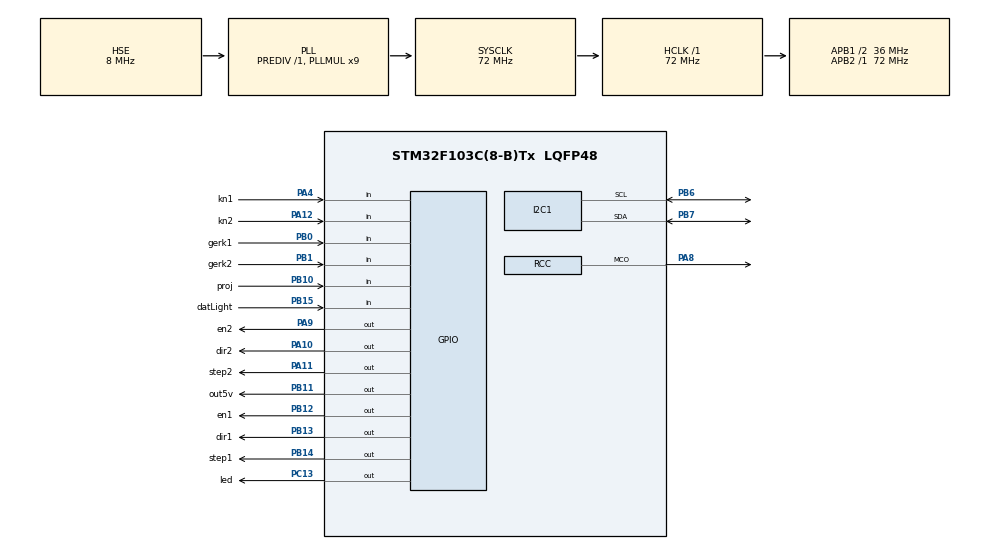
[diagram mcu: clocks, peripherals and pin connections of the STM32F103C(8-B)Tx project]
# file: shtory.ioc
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Mcu.Family=STM32F1
Mcu.Name=STM32F103C(8-B)Tx
Mcu.Package=LQFP48
NVIC.PriorityGroup=NVIC_PRIORITYGROUP_4
NVIC.TIM2_IRQn=true\:0\:0\:false\:false\:true\:true\:true\:true
PA10.GPIO_Label=dir2
PA10.Signal=GPIO_Output
PA11.GPIO_Label=step2
PA11.Signal=GPIO_Output
PA12.GPIO_Label=kn2
PA12.Signal=GPIO_Input
PA4.GPIO_Label=kn1
PA4.Signal=GPIO_Input
PA8.Mode=Clock-out
PA8.Signal=RCC_MCO
PA9.GPIO_Label=en2
PA9.Signal=GPIO_Output
PB0.GPIO_Label=gerk1
PB0.Signal=GPIO_Input
PB1.GPIO_Label=gerk2
PB1.Signal=GPIO_Input
PB10.GPIO_Label=proj
PB10.Signal=GPIO_Input
PB11.GPIO_Label=out5v
PB11.Signal=GPIO_Output
PB12.GPIO_Label=en1
PB12.Signal=GPIO_Output
PB13.GPIO_Label=dir1
PB13.Signal=GPIO_Output
PB14.GPIO_Label=step1
PB14.Signal=GPIO_Output
PB15.GPIO_Label=datLight
PB15.Signal=GPIO_Input
PB6.Mode=I2C
PB6.Signal=I2C1_SCL
PB7.Mode=I2C
PB7.Signal=I2C1_SDA
PC13-TAMPER-RTC.GPIO_Label=led
PC13-TAMPER-RTC.GPIO_ModeDefaultOutputPP=GPIO_MODE_OUTPUT_OD
PC13-TAMPER-RTC.GPIO_PuPd=GPIO_NOPULL
PC13-TAMPER-RTC.Signal=GPIO_Output
PD0-OSC_IN.Mode=HSE-External-Oscillator
PD0-OSC_IN.Signal=RCC_OSC_IN
PD1-OSC_OUT.Mode=HSE-External-Oscillator
PD1-OSC_OUT.Signal=RCC_OSC_OUT
ProjectManager.HeapSize=0x200
ProjectManager.StackSize=0x400
ProjectManager.TargetToolchain=MDK-ARM V5.32
RCC.AHBFreq_Value=72000000
RCC.APB1CLKDivider=RCC_HCLK_DIV2
RCC.APB1Freq_Value=36000000
RCC.APB1TimFreq_Value=72000000
RCC.APB2Freq_Value=72000000
RCC.APB2TimFreq_Value=72000000
RCC.HCLKFreq_Value=72000000
RCC.HSICalibrationValue=16
RCC.PLLMUL=RCC_PLL_MUL9
RCC.PLLSourceVirtual=RCC_PLLSOURCE_HSE
RCC.RCC_MCOSource=RCC_MCO1SOURCE_PLLCLK
RCC.SYSCLKFreq_VALUE=72000000
RCC.SYSCLKSource=RCC_SYSCLKSOURCE_PLLCLK
RCC.USBFreq_Value=72000000
TIM2.AutoReloadPreload=TIM_AUTORELOAD_PRELOAD_DISABLE
TIM2.Period=36
TIM2.Prescaler=35999
VP_SYS_VS_ND.Mode=No_Debug
VP_TIM2_VS_ClockSourceINT.Mode=Internal
board=custom

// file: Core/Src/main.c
/* USER CODE BEGIN Header */
/**
  ******************************************************************************
  * @file           : main.c
  * @brief          : Main program body
  ******************************************************************************
  * @attention
  *
  * Copyright (c) 2023 STMicroelectronics.
  * All rights reserved.
  *
  * This software is licensed under terms that can be found in the LICENSE file
  * in the root directory of this software component.
  * If no LICENSE file comes with this software, it is provided AS-IS.
  *
  ******************************************************************************
  */
/* USER CODE END Header */
#include "main.h"

/* USER CODE BEGIN PTD */
#define ON  0
#define OFF  1
#define yes 0
#define no 1
/* USER CODE END PTD */

I2C_HandleTypeDef hi2c1;

TIM_HandleTypeDef htim2;
int summer_morning = 7;
/* USER CODE BEGIN PV */
int count1 = 0;
int count2 = 0;
int period1 = 50;
int period2 = 50;
int counter1 = 0;
int counter2 = 0;
int down_step1= 20000;
int down_step2= 30000;
uint16_t Dev=0x68;
/* USER CODE END PV */
int minuts = 0;
int seconds =0;
int hours =0;
int date = 0;
	int month = 0;
	int year = 0;
	int day1 = 0;
void SystemClock_Config(void);
static void MX_GPIO_Init(void);
static void MX_I2C1_Init(void);
static void MX_TIM2_Init(void);
int roll1_down = 0;
int roll2_down = 0;
int roll1_top = 0;
int roll2_top = 0;
int roll1_count = 0;
int roll2_count = 0;
int init = 0;
/* USER CODE BEGIN PFP */
enum states_day {

	day_winter,
	day_summer,
	night_winter,
	night_summer

};
enum states_roll
{
	top,
	down,
	go_down,
	go_up
};
enum states_day cur_state_day=day_summer;
enum states_roll cur_state_roll=go_up;
/* USER CODE END PFP */

/* USER CODE BEGIN 0 */
void HAL_TIM_PeriodElapsedCallback(TIM_HandleTypeDef *htim)
{
	count1++;
	count2++;
	if (count1>period1) {
		HAL_GPIO_TogglePin(step1_GPIO_Port, step1_Pin);
		count1 = 0;
			if ((counter1<down_step1)&& (cur_state_roll == go_down))
		{
			counter1++;
		}
		if (counter1>=down_step1){
			roll1_down=1;
		}

	}
	if (count2>period2) {
		HAL_GPIO_TogglePin(step2_GPIO_Port, step2_Pin);
		count2 = 0;
		if ((counter2<down_step2)&& (cur_state_roll == go_down))
		{
			counter2++;
		}
		if (counter2>=down_step2)
		{
			roll2_down=1;
		}
	}

}
/* USER CODE END 0 */

int main(void)
{

  /* MCU Configuration--------------------------------------------------------*/

  /* Reset of all peripherals, Initializes the Flash interface and the Systick. */
  HAL_Init();

  /* Configure the system clock */
  SystemClock_Config();

  /* Initialize all configured peripherals */
  MX_GPIO_Init();
  MX_I2C1_Init();
  MX_TIM2_Init();
  /* USER CODE BEGIN 2 */
	HAL_TIM_Base_Start_IT(&htim2);\
	__enable_irq();
	//time_write(16,15,0, HR_FORMAT_24);
	//date_write(4, 6, 7, 23);

	if(HAL_GPIO_ReadPin(gerk1_GPIO_Port,gerk1_Pin) == no)
						{
							HAL_GPIO_WritePin(dir1_GPIO_Port, dir1_Pin, 1);
							HAL_GPIO_WritePin(en1_GPIO_Port, en1_Pin, 0);
							cur_state_roll = go_up;
							roll1_down=0;
						}
	if(HAL_GPIO_ReadPin(gerk2_GPIO_Port,gerk2_Pin) == no)
						{
							HAL_GPIO_WritePin(dir2_GPIO_Port, dir2_Pin, 1);
							HAL_GPIO_WritePin(en2_GPIO_Port, en2_Pin, 0);
							cur_state_roll = go_up;
							roll2_down=0;
						}

  /* USER CODE END 2 */

  /* Infinite loop */
  /* USER CODE BEGIN WHILE */
  while (1)
  {
		switch (cur_state_day)
		{
			case day_summer:{
				if ((hours > 22) || (hours < 8)){cur_state_day=night_summer;
				}
				if ((month <= 3) || (month >= 9)) {cur_state_day=day_winter;}
				switch (cur_state_roll)
				{
					case top:{
								if (HAL_GPIO_ReadPin(proj_GPIO_Port,proj_Pin) == 1){
									if (((gerk1_GPIO_Port,gerk1_Pin)== no)||(HAL_GPIO_ReadPin(gerk2_GPIO_Port,gerk2_Pin)== no)){
										roll1_top=0;
							roll2_top=0;
							HAL_GPIO_WritePin(dir1_GPIO_Port, dir1_Pin, 1);
							HAL_GPIO_WritePin(dir2_GPIO_Port, dir2_Pin, 1);
							HAL_GPIO_WritePin(en1_GPIO_Port, en1_Pin, ON);
							HAL_GPIO_WritePin(en2_GPIO_Port, en2_Pin, ON);
							cur_state_roll = go_up;
									}
									else
								{
									counter1=0;
									counter2=0;
													HAL_GPIO_WritePin(dir1_GPIO_Port, dir1_Pin, 0);
													HAL_GPIO_WritePin(dir2_GPIO_Port, dir2_Pin, 0);
													HAL_GPIO_WritePin(en1_GPIO_Port, en1_Pin, ON);
													HAL_GPIO_WritePin(en2_GPIO_Port, en2_Pin, ON);
													cur_state_roll = go_down;
											}
								}

					break;
					}

					case down:{
						if(HAL_GPIO_ReadPin(proj_GPIO_Port,proj_Pin) == 0)
						{
							HAL_GPIO_WritePin(dir1_GPIO_Port, dir1_Pin, ON);
							HAL_GPIO_WritePin(dir2_GPIO_Port, dir2_Pin, ON);
							HAL_GPIO_WritePin(en1_GPIO_Port, en1_Pin, 0);
							HAL_GPIO_WritePin(en2_GPIO_Port, en2_Pin, 0);
							cur_state_roll = go_up;
							roll1_down=0;
							roll2_down=0;
						}
						break;
					}

					case go_up:{
						if (HAL_GPIO_ReadPin(gerk1_GPIO_Port,gerk1_Pin)== yes)
						{
							HAL_GPIO_WritePin(en1_GPIO_Port, en1_Pin, OFF);
							roll1_top = 1;
							roll1_count = 0;

						}
						if (HAL_GPIO_ReadPin(gerk2_GPIO_Port,gerk2_Pin)== yes)
						{
							HAL_GPIO_WritePin(en2_GPIO_Port, en2_Pin, OFF);
							roll2_top = 1;
							roll2_count = 0;
						}
						if(roll1_top&&roll2_top){
							cur_state_roll=top;

						}
						break;
					}

					case go_down:{
						if(roll1_down){
							HAL_GPIO_WritePin(en1_GPIO_Port, en1_Pin, OFF);
						}

						if(roll2_down){
							HAL_GPIO_WritePin(en2_GPIO_Port, en2_Pin, OFF);
						}

						if(roll1_down && roll2_down){
							cur_state_roll=down;
						}

						if(HAL_GPIO_ReadPin(proj_GPIO_Port,proj_Pin) == 0)
						{
							HAL_GPIO_WritePin(dir1_GPIO_Port, dir1_Pin, 1);
							HAL_GPIO_WritePin(dir2_GPIO_Port, dir2_Pin, 1);
							HAL_GPIO_WritePin(en1_GPIO_Port, en1_Pin, ON);
							HAL_GPIO_WritePin(en2_GPIO_Port, en2_Pin, ON);
							cur_state_roll = go_up;
						}
						break;
					}
				}
				break;
			}

			case day_winter:{
				if ((hours > 22) || (hours < 8)){cur_state_day=night_winter;}
				if ((month < 9) || (month > 3)) {cur_state_day=day_summer;}

				switch (cur_state_roll)
				{
					case top:{if((HAL_GPIO_ReadPin(proj_GPIO_Port,proj_Pin) == 1)&&(HAL_GPIO_ReadPin(datLight_GPIO_Port,datLight_Pin)==0)){
												HAL_GPIO_WritePin(dir1_GPIO_Port, dir1_Pin, 0);
												HAL_GPIO_WritePin(dir2_GPIO_Port, dir2_Pin, 0);
												HAL_GPIO_WritePin(en1_GPIO_Port, en1_Pin, 0);
												HAL_GPIO_WritePin(en2_GPIO_Port, en2_Pin, 0);
												cur_state_roll = go_down;
											}
					break;
					}
					case down:{
						if(HAL_GPIO_ReadPin(proj_GPIO_Port,proj_Pin) == 0)
						{
							HAL_GPIO_WritePin(dir1_GPIO_Port, dir1_Pin, 1);
							HAL_GPIO_WritePin(dir2_GPIO_Port, dir2_Pin, 1);
							HAL_GPIO_WritePin(en1_GPIO_Port, en1_Pin, 0);
							HAL_GPIO_WritePin(en2_GPIO_Port, en2_Pin, 0);
							cur_state_roll = go_up;
							roll1_down=0;
							roll2_down=0;
						}
						break;
					}

					case go_up:{
						if (roll1_top||(HAL_GPIO_ReadPin(gerk1_GPIO_Port,gerk1_Pin)== 0))
						{
							HAL_GPIO_WritePin(en1_GPIO_Port, en1_Pin, 1);
							roll1_top = 1;
							roll1_count = 0;

						}
						if (roll2_top||(HAL_GPIO_ReadPin(gerk2_GPIO_Port,gerk2_Pin)== 0))
						{
							HAL_GPIO_WritePin(en1_GPIO_Port, en2_Pin, 1);
							roll2_top = 1;
							roll2_count = 0;
						}
						if(roll1_top&&roll2_top){
							cur_state_roll=top;
							init = 1;
						}

						if((HAL_GPIO_ReadPin(proj_GPIO_Port,proj_Pin) == 1)&&(init==1))
						{
							HAL_GPIO_WritePin(dir1_GPIO_Port, dir1_Pin, 0);
							HAL_GPIO_WritePin(dir2_GPIO_Port, dir2_Pin, 0);
							HAL_GPIO_WritePin(en1_GPIO_Port, en1_Pin, 0);
							HAL_GPIO_WritePin(en2_GPIO_Port, en2_Pin, 0);
							cur_state_roll = go_down;
						}
						break;
					}

					case go_down:{
						if(roll1_down){
							HAL_GPIO_WritePin(en1_GPIO_Port, en1_Pin, 1);
						}

						if(roll2_down){
							HAL_GPIO_WritePin(en2_GPIO_Port, en2_Pin, 1);
						}

						if(roll1_down && roll2_down){
							cur_state_roll=down;
						}

						if(HAL_GPIO_ReadPin(proj_GPIO_Port,proj_Pin) == 0)
						{
							HAL_GPIO_WritePin(dir1_GPIO_Port, dir1_Pin, 1);
							HAL_GPIO_WritePin(dir2_GPIO_Port, dir2_Pin, 1);
							HAL_GPIO_WritePin(en1_GPIO_Port, en1_Pin, 0);
							HAL_GPIO_WritePin(en2_GPIO_Port, en2_Pin, 0);
							cur_state_roll = go_up;
						}
						break;
					}
				}
				break;
			}

			case night_summer:{
				if ((summer_morning < hours) || (hours < 22)){cur_state_day=day_summer;}
				switch (cur_state_roll)
				{
					case top:{
												HAL_GPIO_WritePin(dir1_GPIO_Port, dir1_Pin, 0);
												HAL_GPIO_WritePin(dir2_GPIO_Port, dir2_Pin, 0);
												HAL_GPIO_WritePin(en1_GPIO_Port, en1_Pin, 0);
												HAL_GPIO_WritePin(en2_GPIO_Port, en2_Pin, 0);
												cur_state_roll = go_down;

					break;
					}
					case down:{
						break;
					}

					case go_up:{
						cur_state_roll = go_down;
						break;
					}

					case go_down:{
						if(roll1_down){
							HAL_GPIO_WritePin(en1_GPIO_Port, en1_Pin, 1);
						}

						if(roll2_down){
							HAL_GPIO_WritePin(en2_GPIO_Port, en2_Pin, 1);
						}

						if(roll1_down && roll2_down){
							cur_state_roll=down;
						}

						break;
					}
				}
				break;
			}

			case night_winter:{
				if ((hours > 22) || (hours < 8)){
					cur_state_day=day_winter;
				cur_state_roll=go_up;}
				switch (cur_state_roll)
				{
					case top:{
					break;
					}
					case down:{

						break;
					}

					case go_up:{
						break;
					}

					case go_down:{
						break;
					}
				}
				break;
			}
		}

		//HAL_GPIO_TogglePin(led_GPIO_Port, led_Pin);
		//HAL_Delay(1000);
    /* USER CODE END WHILE */
		//period = read_time(1)*10;
		seconds=read_time(1);
		minuts =read_time(2);
		hours = read_time(3);
			date = read_date(1);
	month = read_date(2);
	year = read_date(3);
	day1 = read_date(4);
			if (day1==6 || day1==7) {
				summer_morning = 9;
			}
			else
				{
					summer_morning =7;
				}
		if((seconds%2)==0){
			HAL_GPIO_WritePin(led_GPIO_Port, led_Pin, 0);}
			else
			{
				HAL_GPIO_WritePin(led_GPIO_Port,led_Pin, 1);
			}
  }
}

void SystemClock_Config(void)
{
  RCC_OscInitTypeDef RCC_OscInitStruct = {0};
  RCC_ClkInitTypeDef RCC_ClkInitStruct = {0};

  /** Initializes the RCC Oscillators according to the specified parameters
  * in the RCC_OscInitTypeDef structure.
  */
  RCC_OscInitStruct.OscillatorType = RCC_OSCILLATORTYPE_HSE;
  RCC_OscInitStruct.HSEState = RCC_HSE_ON;
  RCC_OscInitStruct.HSEPredivValue = RCC_HSE_PREDIV_DIV1;
  RCC_OscInitStruct.HSIState = RCC_HSI_ON;
  RCC_OscInitStruct.PLL.PLLState = RCC_PLL_ON;
  RCC_OscInitStruct.PLL.PLLSource = RCC_PLLSOURCE_HSE;
  RCC_OscInitStruct.PLL.PLLMUL = RCC_PLL_MUL9;
  if (HAL_RCC_OscConfig(&RCC_OscInitStruct) != HAL_OK)
  {
    Error_Handler();
  }

  /** Initializes the CPU, AHB and APB buses clocks
  */
  RCC_ClkInitStruct.ClockType = RCC_CLOCKTYPE_HCLK|RCC_CLOCKTYPE_SYSCLK
                              |RCC_CLOCKTYPE_PCLK1|RCC_CLOCKTYPE_PCLK2;
  RCC_ClkInitStruct.SYSCLKSource = RCC_SYSCLKSOURCE_PLLCLK;
  RCC_ClkInitStruct.AHBCLKDivider = RCC_SYSCLK_DIV1;
  RCC_ClkInitStruct.APB1CLKDivider = RCC_HCLK_DIV2;
  RCC_ClkInitStruct.APB2CLKDivider = RCC_HCLK_DIV1;

  if (HAL_RCC_ClockConfig(&RCC_ClkInitStruct, FLASH_LATENCY_2) != HAL_OK)
  {
    Error_Handler();
  }
  HAL_RCC_MCOConfig(RCC_MCO, RCC_MCO1SOURCE_PLLCLK, RCC_MCODIV_1);
}

static void MX_I2C1_Init(void)
{

  hi2c1.Instance = I2C1;
  hi2c1.Init.ClockSpeed = 100000;
  hi2c1.Init.DutyCycle = I2C_DUTYCYCLE_2;
  hi2c1.Init.OwnAddress1 = 0;
  hi2c1.Init.AddressingMode = I2C_ADDRESSINGMODE_7BIT;
  hi2c1.Init.DualAddressMode = I2C_DUALADDRESS_DISABLE;
  hi2c1.Init.OwnAddress2 = 0;
  hi2c1.Init.GeneralCallMode = I2C_GENERALCALL_DISABLE;
  hi2c1.Init.NoStretchMode = I2C_NOSTRETCH_DISABLE;
  if (HAL_I2C_Init(&hi2c1) != HAL_OK)
  {
    Error_Handler();
  }

}

static void MX_TIM2_Init(void)
{

  TIM_ClockConfigTypeDef sClockSourceConfig = {0};
  TIM_MasterConfigTypeDef sMasterConfig = {0};

  htim2.Instance = TIM2;
  htim2.Init.Prescaler = 359;
  htim2.Init.CounterMode = TIM_COUNTERMODE_UP;
  htim2.Init.Period = 1;
  htim2.Init.ClockDivision = TIM_CLOCKDIVISION_DIV1;
  htim2.Init.AutoReloadPreload = TIM_AUTORELOAD_PRELOAD_DISABLE;
  if (HAL_TIM_Base_Init(&htim2) != HAL_OK)
  {
    Error_Handler();
  }
  sClockSourceConfig.ClockSource = TIM_CLOCKSOURCE_INTERNAL;
  if (HAL_TIM_ConfigClockSource(&htim2, &sClockSourceConfig) != HAL_OK)
  {
    Error_Handler();
  }
  sMasterConfig.MasterOutputTrigger = TIM_TRGO_RESET;
  sMasterConfig.MasterSlaveMode = TIM_MASTERSLAVEMODE_DISABLE;
  if (HAL_TIMEx_MasterConfigSynchronization(&htim2, &sMasterConfig) != HAL_OK)
  {
    Error_Handler();
  }

}

static void MX_GPIO_Init(void)
{
  GPIO_InitTypeDef GPIO_InitStruct = {0};

  /* GPIO Ports Clock Enable */
  __HAL_RCC_GPIOC_CLK_ENABLE();
  __HAL_RCC_GPIOD_CLK_ENABLE();
  __HAL_RCC_GPIOA_CLK_ENABLE();
  __HAL_RCC_GPIOB_CLK_ENABLE();

  /*Configure GPIO pin Output Level */
  HAL_GPIO_WritePin(led_GPIO_Port, led_Pin, GPIO_PIN_RESET);

  /*Configure GPIO pin Output Level */
  HAL_GPIO_WritePin(GPIOB, out5v_Pin|en1_Pin|dir1_Pin|step1_Pin, GPIO_PIN_RESET);

  /*Configure GPIO pin Output Level */
  HAL_GPIO_WritePin(GPIOA, en2_Pin|dir2_Pin|step2_Pin, GPIO_PIN_RESET);

  /*Configure GPIO pin : led_Pin */
  GPIO_InitStruct.Pin = led_Pin;
  GPIO_InitStruct.Mode = GPIO_MODE_OUTPUT_OD;
  GPIO_InitStruct.Pull = GPIO_NOPULL;
  GPIO_InitStruct.Speed = GPIO_SPEED_FREQ_LOW;
  HAL_GPIO_Init(led_GPIO_Port, &GPIO_InitStruct);

  /*Configure GPIO pins : kn1_Pin kn2_Pin */
  GPIO_InitStruct.Pin = kn1_Pin|kn2_Pin;
  GPIO_InitStruct.Mode = GPIO_MODE_INPUT;
  GPIO_InitStruct.Pull = GPIO_NOPULL;
  HAL_GPIO_Init(GPIOA, &GPIO_InitStruct);

  /*Configure GPIO pins : gerk1_Pin gerk2_Pin proj_Pin datLight_Pin */
  GPIO_InitStruct.Pin = datLight_Pin;
  GPIO_InitStruct.Mode = GPIO_MODE_INPUT;
  GPIO_InitStruct.Pull = GPIO_NOPULL;
  HAL_GPIO_Init(GPIOB, &GPIO_InitStruct);

	 GPIO_InitStruct.Pin = gerk1_Pin|gerk2_Pin;
  GPIO_InitStruct.Mode = GPIO_MODE_INPUT;
  GPIO_InitStruct.Pull = GPIO_PULLUP;
  HAL_GPIO_Init(GPIOB, &GPIO_InitStruct);

  /*Configure GPIO pins : out5v_Pin en1_Pin dir1_Pin step1_Pin */
  GPIO_InitStruct.Pin = out5v_Pin|en1_Pin|dir1_Pin|step1_Pin;
  GPIO_InitStruct.Mode = GPIO_MODE_OUTPUT_PP;
  GPIO_InitStruct.Pull = GPIO_NOPULL;
  GPIO_InitStruct.Speed = GPIO_SPEED_FREQ_LOW;
  HAL_GPIO_Init(GPIOB, &GPIO_InitStruct);

  /*Configure GPIO pin : PA8 */
  GPIO_InitStruct.Pin = GPIO_PIN_8;
  GPIO_InitStruct.Mode = GPIO_MODE_AF_PP;
  GPIO_InitStruct.Speed = GPIO_SPEED_FREQ_LOW;
  HAL_GPIO_Init(GPIOA, &GPIO_InitStruct);

  /*Configure GPIO pins : en2_Pin dir2_Pin step2_Pin */
  GPIO_InitStruct.Pin = en2_Pin|dir2_Pin|step2_Pin;
  GPIO_InitStruct.Mode = GPIO_MODE_OUTPUT_PP;
  GPIO_InitStruct.Pull = GPIO_NOPULL;
  GPIO_InitStruct.Speed = GPIO_SPEED_FREQ_LOW;
  HAL_GPIO_Init(GPIOA, &GPIO_InitStruct);

	GPIO_InitStruct.Pin = proj_Pin;
  GPIO_InitStruct.Mode = GPIO_MODE_INPUT;
  GPIO_InitStruct.Pull = GPIO_PULLDOWN;
  HAL_GPIO_Init(proj_GPIO_Port, &GPIO_InitStruct);

}

void Error_Handler(void)
{
  __disable_irq();
  while (1)
  {
  }
}
